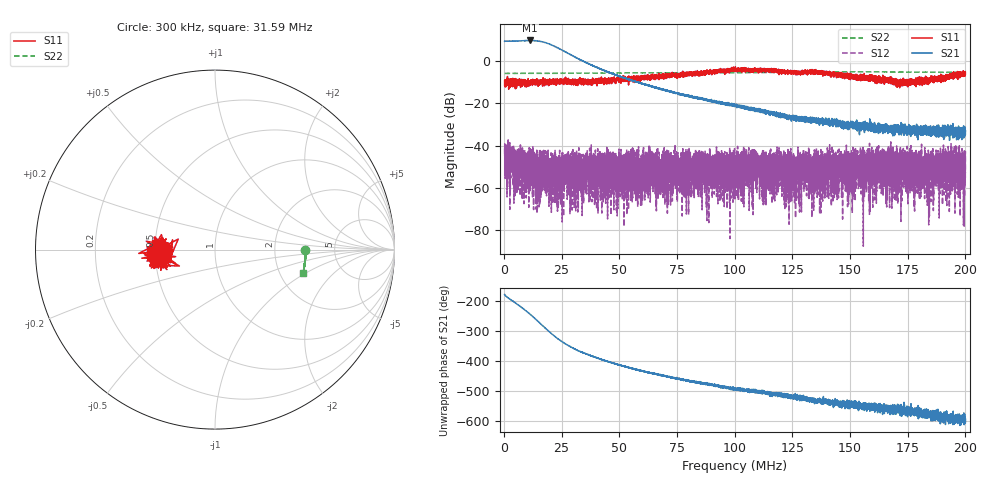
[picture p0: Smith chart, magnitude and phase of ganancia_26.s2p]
# Hz S DB R 50
! CMT, M5065, 19127446, 24.2.4/2
! Date: 10/29/2024 12:25:36 PM
! Data: Format (Calibration Info)
! Freq	S11:dB/Ang(F2)	S21:dB/Ang(F2)	S12:dB/Ang(F2)	S22:dB/Ang(F2)
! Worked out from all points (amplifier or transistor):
!   9000 points, 300 kHz to 200 MHz, reference 50 ohm
!   highest |S21| = 9.6 dB at 11.37 MHz (marker M1)
!   |S21| within 3 dB of that: start of sweep to 22.33 MHz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
!   unconditionally stable (mu >= 1): start of sweep to end of sweep
!   at 33.59 MHz: K = 80.45, MAG = 2.0 dB, |S12| = -47.9 dB
!   at 100.2 MHz: K = 897.97, MAG = -17.0 dB, |S12| = -52.3 dB
!   at 200 MHz: K = 6645.56, MAG = -32.0 dB, |S12| = -53.1 dB
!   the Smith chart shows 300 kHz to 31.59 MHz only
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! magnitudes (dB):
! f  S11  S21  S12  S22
! 300 kHz  -9.5  9.2  -41.3  -6.0
! 5.337 MHz  -9.3  9.3  -60.4  -5.9
! 11.37 MHz  -11.1  9.6  -46.8  -5.9
! 14.64 MHz  -9.6  9.3  -46.7  -5.9
! 33.59 MHz  -10.0  0.2  -47.9  -5.9
! 35.81 MHz  -10.8  -1.0  -55.4  -5.8
! 62.61 MHz  -8.5  -11.6  -52.4  -5.7
! 64.79 MHz  -8.5  -12.2  -49.8  -5.7
! 66.87 MHz  -7.8  -13.0  -48.6  -5.7
! 100.2 MHz  -3.2  -21.2  -52.3  -5.6
! 119.4 MHz  -4.7  -25.4  -47.8  -5.5
! 125.9 MHz  -5.2  -26.5  -64.9  -5.4
! 130.7 MHz  -4.9  -27.9  -43.9  -5.4
! 133.4 MHz  -4.9  -29.0  -59.3  -5.3
! 140.7 MHz  -6.0  -29.8  -56.3  -5.3
! 149.6 MHz  -7.9  -29.3  -47.2  -5.2
! 152.6 MHz  -8.1  -31.3  -51.3  -5.2
! 156.2 MHz  -6.0  -29.8  -56.2  -5.2
! 166.7 MHz  -9.1  -32.0  -50.1  -5.3
! 184.1 MHz  -9.5  -31.3  -45.4  -5.4
! 193.1 MHz  -8.6  -37.5  -44.5  -5.5
! 200 MHz  -6.3  -34.6  -53.1  -5.5
